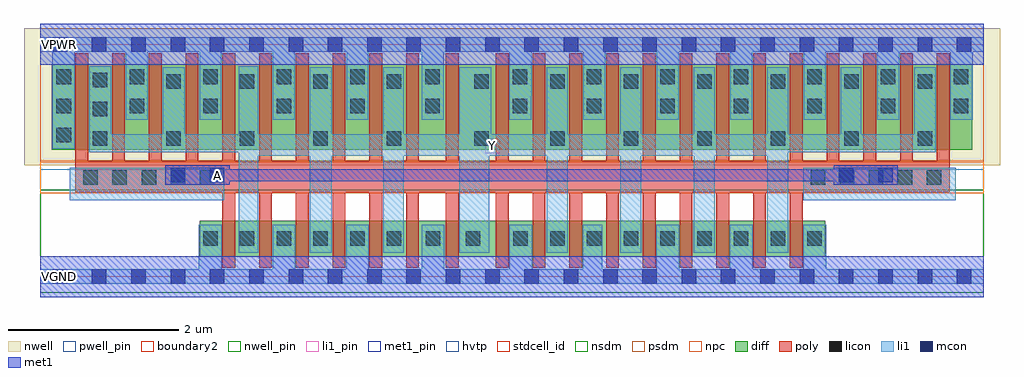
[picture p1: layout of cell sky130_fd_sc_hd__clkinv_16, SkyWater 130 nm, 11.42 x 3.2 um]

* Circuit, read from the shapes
.subckt sky130_fd_sc_hd__clkinv_16 A VGND VNB VPB VPWR Y
XM1 Y A VGND VNB sky130_fd_pr__nfet_01v8 w=0.42 l=0.15 m=16
XM2 Y A VPWR VPB sky130_fd_pr__pfet_01v8_hvt w=1 l=0.15 m=24
.ends

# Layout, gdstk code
import gdstk
lib = gdstk.Library(unit=1e-6, precision=1e-09)
def R(c, l, rs):  # rectangles x0, y0, x1, y1
    for r in rs: c.add(gdstk.rectangle(r[:2], r[2:], *l))
def A(c, l, x, y, w, h, nx, ny, dx, dy):  # array of equal rectangles
    R(c, l, [(x+i*dx, y+j*dy, x+i*dx+w, y+j*dy+h) for i in range(nx) for j in range(ny)])
def P(c, l, *ps):  # polygons
    for p in ps: c.add(gdstk.Polygon(p, *l))
nwell_pin = (64, 16)
nwell = (64, 20)
diff = (65, 20)
poly = (66, 20)
licon = (66, 44)
li1_pin = (67, 16)
li1 = (67, 20)
mcon = (67, 44)
met1_pin = (68, 16)
met1 = (68, 20)
hvtp = (78, 44)
stdcell_id = (81, 4)
nsdm = (93, 44)
psdm = (94, 20)
npc = (95, 20)
pwell_pin = (122, 16)
boundary2 = (236, 0)

sky130_fd_sc_hd__clkinv_ = lib.new_cell('sky130_fd_sc_hd__clkinv_16')
R(sky130_fd_sc_hd__clkinv_, nwell_pin, [(0.145,2.635,0.315,2.805)])
R(sky130_fd_sc_hd__clkinv_, nwell, [(-0.19,1.305,11.23,2.91)])
R(sky130_fd_sc_hd__clkinv_, diff, [(1.865,0.235,9.185,0.655), (0.135,1.485,10.905,2.485)])
P(sky130_fd_sc_hd__clkinv_, poly, [(10.64,2.615),(10.49,2.615),(10.49,1.35),(10.21,1.35),(10.21,2.615),(10.06,2.615),(10.06,1.35),(9.78,1.35),(9.78,2.615),(9.63,2.615),(9.63,1.35),(9.35,1.35),(9.35,2.615),(9.2,2.615),(9.2,1.35),(8.92,1.35),(8.92,2.615),(8.77,2.615),(8.77,1.35),(8.49,1.35),(8.49,2.615),(8.34,2.615),(8.34,1.35),(8.06,1.35),(8.06,2.615),(7.91,2.615),(7.91,1.35),(7.63,1.35),(7.63,2.615),(7.48,2.615),(7.48,1.35),(7.2,1.35),(7.2,2.615),(7.05,2.615),(7.05,1.35),(6.77,1.35),(6.77,2.615),(6.62,2.615),(6.62,1.35),(6.34,1.35),(6.34,2.615),(6.19,2.615),(6.19,1.35),(5.91,1.35),(5.91,2.615),(5.76,2.615),(5.76,1.35),(5.48,1.35),(5.48,2.615),(5.33,2.615),(5.33,1.35),(4.895,1.35),(4.895,2.615),(4.745,2.615),(4.745,1.35),(4.43,1.35),(4.43,2.615),(4.28,2.615),(4.28,1.35),(4,1.35),(4,2.615),(3.85,2.615),(3.85,1.35),(3.57,1.35),(3.57,2.615),(3.42,2.615),(3.42,1.35),(3.14,1.35),(3.14,2.615),(2.99,2.615),(2.99,1.35),(2.71,1.35),(2.71,2.615),(2.56,2.615),(2.56,1.35),(2.28,1.35),(2.28,2.615),(2.13,2.615),(2.13,1.35),(1.85,1.35),(1.85,2.615),(1.7,2.615),(1.7,1.35),(1.42,1.35),(1.42,2.615),(1.27,2.615),(1.27,1.35),(0.99,1.35),(0.99,2.615),(0.84,2.615),(0.84,1.35),(0.56,1.35),(0.56,2.615),(0.41,2.615),(0.41,0.99),(2.13,0.99),(2.13,0.105),(2.28,0.105),(2.28,0.99),(2.56,0.99),(2.56,0.105),(2.71,0.105),(2.71,0.99),(2.99,0.99),(2.99,0.105),(3.14,0.105),(3.14,0.99),(3.42,0.99),(3.42,0.105),(3.57,0.105),(3.57,0.99),(3.85,0.99),(3.85,0.105),(4,0.105),(4,0.99),(4.28,0.99),(4.28,0.105),(4.43,0.105),(4.43,0.99),(4.745,0.99),(4.745,0.105),(4.895,0.105),(4.895,0.99),(5.33,0.99),(5.33,0.105),(5.48,0.105),(5.48,0.99),(5.76,0.99),(5.76,0.105),(5.91,0.105),(5.91,0.99),(6.19,0.99),(6.19,0.105),(6.34,0.105),(6.34,0.99),(6.62,0.99),(6.62,0.105),(6.77,0.105),(6.77,0.99),(7.05,0.99),(7.05,0.105),(7.2,0.105),(7.2,0.99),(7.48,0.99),(7.48,0.105),(7.63,0.105),(7.63,0.99),(7.91,0.99),(7.91,0.105),(8.06,0.105),(8.06,0.99),(8.34,0.99),(8.34,0.105),(8.49,0.105),(8.49,0.99),(8.77,0.99),(8.77,0.105),(8.92,0.105),(8.92,0.99),(10.64,0.99)])
A(sky130_fd_sc_hd__clkinv_, licon, 1.905, 0.36, 0.17, 0.17, 6, 1, 0.43, 0)
A(sky130_fd_sc_hd__clkinv_, licon, 5.535, 0.36, 0.17, 0.17, 9, 1, 0.43, 0)
A(sky130_fd_sc_hd__clkinv_, licon, 0.505, 1.075, 0.17, 0.17, 5, 1, 0.34, 0)
A(sky130_fd_sc_hd__clkinv_, licon, 9.015, 1.075, 0.17, 0.17, 5, 1, 0.34, 0)
A(sky130_fd_sc_hd__clkinv_, licon, 0.615, 1.535, 0.17, 0.17, 5, 1, 0.86, 0)
A(sky130_fd_sc_hd__clkinv_, licon, 5.965, 1.535, 0.17, 0.17, 6, 2, 0.86, 0.665)
A(sky130_fd_sc_hd__clkinv_, licon, 0.19, 1.575, 0.17, 0.17, 1, 3, 0, 0.34)
A(sky130_fd_sc_hd__clkinv_, licon, 1.045, 1.915, 0.17, 0.17, 4, 2, 0.86, 0.34)
A(sky130_fd_sc_hd__clkinv_, licon, 6.395, 1.915, 0.17, 0.17, 5, 2, 0.86, 0.34)
A(sky130_fd_sc_hd__clkinv_, licon, 1.475, 2.2, 0.17, 0.17, 4, 1, 0.86, 0)
R(sky130_fd_sc_hd__clkinv_, licon, [(4.51,0.36,4.68,0.53), (4.98,0.36,5.15,0.53), (5.08,1.535,5.25,1.705), (0.615,1.875,0.785,2.045), (4.505,1.915,4.675,2.085), (5.53,1.915,5.7,2.085), (10.69,1.915,10.86,2.085), (5.08,2.2,5.25,2.37), (0.615,2.215,0.785,2.385), (4.505,2.255,4.675,2.425), (5.53,2.255,5.7,2.425), (10.69,2.255,10.86,2.425)])
R(sky130_fd_sc_hd__clkinv_, li1_pin, [(1.985,1.105,2.155,1.275), (5.205,1.445,5.375,1.615)])
R(sky130_fd_sc_hd__clkinv_, li1, [(0.345,0.895,2.155,1.275), (8.93,0.895,10.71,1.275)])
P(sky130_fd_sc_hd__clkinv_, li1, [(10.48,2.45),(10.225,2.45),(10.225,1.665),(9.605,1.665),(9.605,2.45),(9.365,2.45),(9.365,1.665),(8.755,1.665),(8.755,2.45),(8.505,2.45),(8.505,1.665),(7.895,1.665),(7.895,2.45),(7.645,2.45),(7.645,1.665),(7.035,1.665),(7.035,2.45),(6.785,2.45),(6.785,1.665),(6.175,1.665),(6.175,2.45),(5.925,2.45),(5.925,1.665),(5.28,1.665),(5.28,2.45),(4.905,2.45),(4.905,1.665),(4.255,1.665),(4.255,2.45),(4.015,2.45),(4.015,1.665),(3.41,1.665),(3.41,2.45),(3.155,2.45),(3.155,1.665),(2.55,1.665),(2.55,2.465),(2.325,2.465),(2.325,1.665),(1.69,1.665),(1.69,2.45),(1.435,2.45),(1.435,1.665),(0.83,1.665),(0.83,2.465),(0.575,2.465),(0.575,1.455),(2.325,1.455),(2.325,0.28),(2.55,0.28),(2.55,1.415),(3.155,1.415),(3.155,0.28),(3.41,0.28),(3.41,1.415),(4.015,1.415),(4.015,0.28),(4.255,0.28),(4.255,1.415),(4.905,1.415),(4.905,0.28),(5.255,0.28),(5.255,1.415),(5.925,1.415),(5.925,0.28),(6.175,0.28),(6.175,1.415),(6.785,1.415),(6.785,0.28),(7.035,0.28),(7.035,1.415),(7.645,1.415),(7.645,0.28),(7.895,0.28),(7.895,1.415),(8.505,1.415),(8.505,0.28),(8.755,0.28),(8.755,1.455),(10.48,1.455)],
  [(11.04,2.805),(0,2.805),(0,2.635),(0.14,2.635),(0.14,1.495),(0.405,1.495),(0.405,2.635),(1,2.635),(1,1.835),(1.26,1.835),(1.26,2.635),(1.865,2.635),(1.865,1.835),(2.12,1.835),(2.12,2.635),(2.72,2.635),(2.72,1.835),(2.98,1.835),(2.98,2.635),(3.585,2.635),(3.585,1.835),(3.84,1.835),(3.84,2.635),(4.465,2.635),(4.465,1.835),(4.72,1.835),(4.72,2.635),(5.49,2.635),(5.49,1.835),(5.745,1.835),(5.745,2.12),(5.75,2.12),(5.75,2.635),(6.355,2.635),(6.355,1.835),(6.61,1.835),(6.61,2.635),(7.215,2.635),(7.215,1.835),(7.47,1.835),(7.47,2.635),(8.075,2.635),(8.075,1.835),(8.33,1.835),(8.33,2.635),(8.935,2.635),(8.935,1.835),(9.19,1.835),(9.19,2.635),(9.795,2.635),(9.795,1.835),(10.05,1.835),(10.05,2.635),(10.65,2.635),(10.65,1.835),(10.91,1.835),(10.91,2.635),(11.04,2.635)],
  [(11.04,0.085),(9.195,0.085),(9.195,0.61),(8.93,0.61),(8.93,0.085),(8.335,0.085),(8.335,0.61),(8.07,0.61),(8.07,0.085),(7.475,0.085),(7.475,0.61),(7.21,0.61),(7.21,0.085),(6.575,0.085),(6.575,0.61),(6.35,0.61),(6.35,0.085),(5.755,0.085),(5.755,0.61),(5.49,0.61),(5.49,0.085),(4.73,0.085),(4.73,0.61),(4.465,0.61),(4.465,0.085),(3.845,0.085),(3.845,0.61),(3.58,0.61),(3.58,0.085),(2.985,0.085),(2.985,0.61),(2.72,0.61),(2.72,0.085),(2.125,0.085),(2.125,0.61),(1.855,0.61),(1.855,0.085),(0,0.085),(0,-0.085),(11.04,-0.085)])
A(sky130_fd_sc_hd__clkinv_, mcon, 0.145, -0.085, 0.17, 0.17, 24, 2, 0.46, 2.72)
R(sky130_fd_sc_hd__clkinv_, mcon, [(1.525,1.105,1.695,1.275), (1.985,1.105,2.155,1.275), (9.345,1.105,9.515,1.275), (9.805,1.105,9.975,1.275)])
R(sky130_fd_sc_hd__clkinv_, met1_pin, [(0.145,-0.085,0.315,0.085), (0.145,2.635,0.315,2.805)])
P(sky130_fd_sc_hd__clkinv_, met1, [(10.035,1.305),(9.285,1.305),(9.285,1.26),(2.215,1.26),(2.215,1.305),(1.465,1.305),(1.465,1.075),(2.215,1.075),(2.215,1.12),(9.285,1.12),(9.285,1.075),(10.035,1.075)])
R(sky130_fd_sc_hd__clkinv_, hvtp, [(0,1.25,11.04,2.72)])
R(sky130_fd_sc_hd__clkinv_, stdcell_id, [(0,0,11.04,2.72)])
R(sky130_fd_sc_hd__clkinv_, nsdm, [(0,-0.19,11.04,1.015)])
R(sky130_fd_sc_hd__clkinv_, psdm, [(0,1.355,11.04,2.91)])
R(sky130_fd_sc_hd__clkinv_, npc, [(0,0.975,11.04,1.345)])
R(sky130_fd_sc_hd__clkinv_, pwell_pin, [(0.145,-0.085,0.315,0.085)])
R(sky130_fd_sc_hd__clkinv_, boundary2, [(0,0,11.04,2.72)])
sky130_fd_sc_hd__clkinv_.add(gdstk.FlexPath([(0,2.72),(11.04,2.72)], 0.48, ends="flush", simple_path=True, layer=68, datatype=20))  # met1
sky130_fd_sc_hd__clkinv_.add(gdstk.FlexPath([(0,0),(11.04,0)], 0.48, ends="flush", simple_path=True, layer=68, datatype=20))  # met1
sky130_fd_sc_hd__clkinv_.add(gdstk.Label('Y', (5.29,1.53), layer=67, texttype=5))
sky130_fd_sc_hd__clkinv_.add(gdstk.Label('A', (2.07,1.19), layer=67, texttype=5))
sky130_fd_sc_hd__clkinv_.add(gdstk.Label('VGND', (0.23,0), layer=68, texttype=5))
sky130_fd_sc_hd__clkinv_.add(gdstk.Label('VPWR', (0.23,2.72), layer=68, texttype=5))
sky130_fd_sc_hd__clkinv_.add(gdstk.Label('VNB', (0.23,0), layer=64, texttype=59))
sky130_fd_sc_hd__clkinv_.add(gdstk.Label('VPB', (0.23,2.72), layer=64, texttype=5))
sky130_fd_sc_hd__clkinv_.add(gdstk.Label('clkinv_16', (0,0), layer=83, texttype=44))

lib.write_gds('sky130_fd_sc_hd__clkinv_16.gds')
